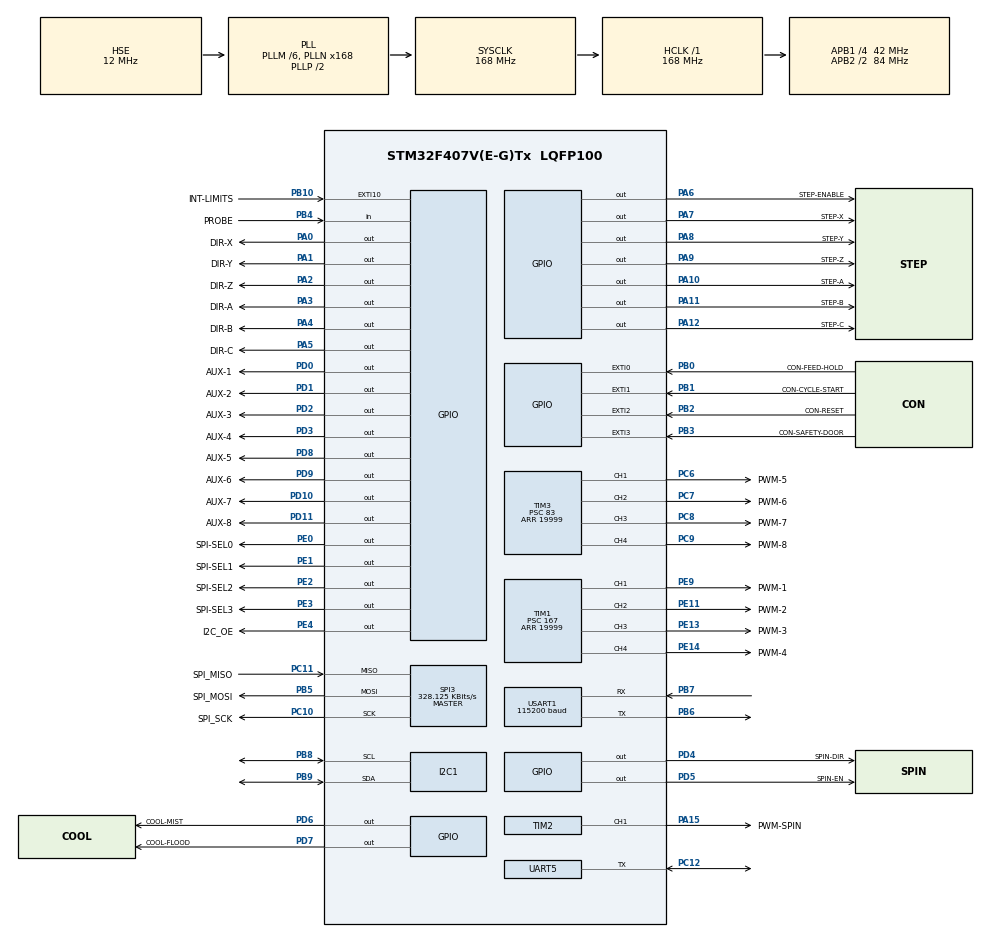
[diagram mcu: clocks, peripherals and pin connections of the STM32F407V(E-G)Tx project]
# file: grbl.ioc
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Mcu.Family=STM32F4
Mcu.Name=STM32F407V(E-G)Tx
Mcu.Package=LQFP100
NVIC.EXTI0_IRQn=true\:0\:0\:false\:true\:true\:2\:true\:true
NVIC.EXTI15_10_IRQn=true\:0\:0\:false\:false\:true\:true\:true
NVIC.EXTI1_IRQn=true\:0\:0\:false\:true\:true\:3\:true\:true
NVIC.EXTI2_IRQn=true\:0\:0\:false\:true\:true\:4\:true\:true
NVIC.EXTI3_IRQn=true\:0\:0\:false\:true\:true\:5\:true\:true
NVIC.PriorityGroup=NVIC_PRIORITYGROUP_4
NVIC.TIM5_IRQn=true\:0\:0\:false\:false\:true\:true\:true
NVIC.TIM7_IRQn=true\:0\:0\:false\:false\:true\:true\:true
NVIC.USART1_IRQn=true\:0\:0\:false\:true\:true\:1\:true\:true
PA0-WKUP.GPIO_Label=DIR-X
PA0-WKUP.GPIO_ModeDefaultOutputPP=GPIO_MODE_OUTPUT_PP
PA0-WKUP.GPIO_Speed=GPIO_SPEED_FREQ_VERY_HIGH
PA0-WKUP.Signal=GPIO_Output
PA1.GPIO_Label=DIR-Y
PA1.GPIO_ModeDefaultOutputPP=GPIO_MODE_OUTPUT_PP
PA1.GPIO_Speed=GPIO_SPEED_FREQ_VERY_HIGH
PA1.Signal=GPIO_Output
PA10.GPIO_Label=STEP-A
PA10.GPIO_ModeDefaultOutputPP=GPIO_MODE_OUTPUT_PP
PA10.GPIO_Speed=GPIO_SPEED_FREQ_VERY_HIGH
PA10.Signal=GPIO_Output
PA11.GPIO_Label=STEP-B
PA11.GPIO_ModeDefaultOutputPP=GPIO_MODE_OUTPUT_PP
PA11.GPIO_Speed=GPIO_SPEED_FREQ_VERY_HIGH
PA11.Signal=GPIO_Output
PA12.GPIO_Label=STEP-C
PA12.GPIO_ModeDefaultOutputPP=GPIO_MODE_OUTPUT_PP
PA12.GPIO_Speed=GPIO_SPEED_FREQ_VERY_HIGH
PA12.Signal=GPIO_Output
PA13.Mode=Serial_Wire
PA13.Signal=SYS_JTMS-SWDIO
PA14.Mode=Serial_Wire
PA14.Signal=SYS_JTCK-SWCLK
PA15.GPIO_Label=PWM-SPIN
PA15.Signal=S_TIM2_CH1_ETR
PA2.GPIO_Label=DIR-Z
PA2.GPIO_ModeDefaultOutputPP=GPIO_MODE_OUTPUT_PP
PA2.GPIO_Speed=GPIO_SPEED_FREQ_VERY_HIGH
PA2.Signal=GPIO_Output
PA3.GPIO_Label=DIR-A
PA3.GPIO_ModeDefaultOutputPP=GPIO_MODE_OUTPUT_PP
PA3.GPIO_Speed=GPIO_SPEED_FREQ_VERY_HIGH
PA3.Signal=GPIO_Output
PA4.GPIO_Label=DIR-B
PA4.GPIO_ModeDefaultOutputPP=GPIO_MODE_OUTPUT_PP
PA4.GPIO_Speed=GPIO_SPEED_FREQ_VERY_HIGH
PA4.Signal=GPIO_Output
PA5.GPIO_Label=DIR-C
PA5.GPIO_ModeDefaultOutputPP=GPIO_MODE_OUTPUT_PP
PA5.GPIO_Speed=GPIO_SPEED_FREQ_VERY_HIGH
PA5.Signal=GPIO_Output
PA6.GPIO_Label=STEP-ENABLE
PA6.GPIO_ModeDefaultOutputPP=GPIO_MODE_OUTPUT_PP
PA6.GPIO_Speed=GPIO_SPEED_FREQ_VERY_HIGH
PA6.Signal=GPIO_Output
PA7.GPIO_Label=STEP-X
PA7.GPIO_ModeDefaultOutputPP=GPIO_MODE_OUTPUT_PP
PA7.GPIO_Speed=GPIO_SPEED_FREQ_VERY_HIGH
PA7.Signal=GPIO_Output
PA8.GPIO_Label=STEP-Y
PA8.GPIO_ModeDefaultOutputPP=GPIO_MODE_OUTPUT_PP
PA8.GPIO_Speed=GPIO_SPEED_FREQ_VERY_HIGH
PA8.Signal=GPIO_Output
PA9.GPIO_Label=STEP-Z
PA9.GPIO_ModeDefaultOutputPP=GPIO_MODE_OUTPUT_PP
PA9.GPIO_Speed=GPIO_SPEED_FREQ_VERY_HIGH
PA9.Signal=GPIO_Output
PB0.GPIO_Label=CON-FEED-HOLD
PB0.GPIO_ModeDefaultEXTI=GPIO_MODE_IT_FALLING
PB0.GPIO_PuPd=GPIO_PULLUP
PB0.Signal=GPXTI0
PB1.GPIO_Label=CON-CYCLE-START
PB1.GPIO_ModeDefaultEXTI=GPIO_MODE_IT_FALLING
PB1.GPIO_PuPd=GPIO_PULLUP
PB1.Signal=GPXTI1
PB10.GPIO_Label=INT-LIMITS
PB10.GPIO_ModeDefaultEXTI=GPIO_MODE_IT_FALLING
PB10.GPIO_PuPd=GPIO_PULLUP
PB10.Signal=GPXTI10
PB2.GPIO_Label=CON-RESET
PB2.GPIO_ModeDefaultEXTI=GPIO_MODE_IT_FALLING
PB2.GPIO_PuPd=GPIO_PULLUP
PB2.Signal=GPXTI2
PB3.GPIO_Label=CON-SAFETY-DOOR
PB3.GPIO_ModeDefaultEXTI=GPIO_MODE_IT_FALLING
PB3.GPIO_PuPd=GPIO_PULLUP
PB3.Signal=GPXTI3
PB4.GPIO_Label=PROBE
PB4.GPIO_PuPd=GPIO_PULLUP
PB4.Signal=GPIO_Input
PB5.GPIO_Label=SPI_MOSI
PB5.Mode=Full_Duplex_Master
PB5.Signal=SPI3_MOSI
PB6.Mode=Asynchronous
PB6.Signal=USART1_TX
PB7.Mode=Asynchronous
PB7.Signal=USART1_RX
PB8.Mode=I2C
PB8.Signal=I2C1_SCL
PB9.Mode=I2C
PB9.Signal=I2C1_SDA
PC10.GPIO_Label=SPI_SCK
PC10.Mode=Full_Duplex_Master
PC10.Signal=SPI3_SCK
PC11.GPIO_Label=SPI_MISO
PC11.Mode=Full_Duplex_Master
PC11.Signal=SPI3_MISO
PC12.Mode=Half_duplex(single_wire_mode)
PC12.Signal=UART5_TX
PC6.GPIO_Label=PWM-5
PC6.Signal=S_TIM3_CH1
PC7.GPIO_Label=PWM-6
PC7.Signal=S_TIM3_CH2
PC8.GPIO_Label=PWM-7
PC8.Signal=S_TIM3_CH3
PC9.GPIO_Label=PWM-8
PC9.Signal=S_TIM3_CH4
PD0.GPIO_Label=AUX-1
PD0.GPIO_ModeDefaultOutputPP=GPIO_MODE_OUTPUT_PP
PD0.GPIO_PuPd=GPIO_NOPULL
PD0.GPIO_Speed=GPIO_SPEED_FREQ_VERY_HIGH
PD0.PinState=GPIO_PIN_RESET
PD0.Signal=GPIO_Output
PD1.GPIO_Label=AUX-2
PD1.GPIO_ModeDefaultOutputPP=GPIO_MODE_OUTPUT_PP
PD1.GPIO_PuPd=GPIO_NOPULL
PD1.GPIO_Speed=GPIO_SPEED_FREQ_VERY_HIGH
PD1.PinState=GPIO_PIN_RESET
PD1.Signal=GPIO_Output
PD10.GPIO_Label=AUX-7
PD10.GPIO_ModeDefaultOutputPP=GPIO_MODE_OUTPUT_PP
PD10.GPIO_PuPd=GPIO_NOPULL
PD10.GPIO_Speed=GPIO_SPEED_FREQ_VERY_HIGH
PD10.PinState=GPIO_PIN_RESET
PD10.Signal=GPIO_Output
PD11.GPIO_Label=AUX-8
PD11.GPIO_ModeDefaultOutputPP=GPIO_MODE_OUTPUT_PP
PD11.GPIO_PuPd=GPIO_NOPULL
PD11.GPIO_Speed=GPIO_SPEED_FREQ_VERY_HIGH
PD11.PinState=GPIO_PIN_RESET
PD11.Signal=GPIO_Output
PD2.GPIO_Label=AUX-3
PD2.GPIO_Speed=GPIO_SPEED_FREQ_VERY_HIGH
PD2.Signal=GPIO_Output
PD3.GPIO_Label=AUX-4
PD3.GPIO_ModeDefaultOutputPP=GPIO_MODE_OUTPUT_PP
PD3.GPIO_PuPd=GPIO_NOPULL
PD3.GPIO_Speed=GPIO_SPEED_FREQ_VERY_HIGH
PD3.PinState=GPIO_PIN_RESET
PD3.Signal=GPIO_Output
PD4.GPIO_Label=SPIN-DIR
PD4.GPIO_ModeDefaultOutputPP=GPIO_MODE_OUTPUT_PP
PD4.GPIO_PuPd=GPIO_NOPULL
PD4.GPIO_Speed=GPIO_SPEED_FREQ_VERY_HIGH
PD4.PinState=GPIO_PIN_RESET
PD4.Signal=GPIO_Output
PD5.GPIO_Label=SPIN-EN
PD5.GPIO_ModeDefaultOutputPP=GPIO_MODE_OUTPUT_PP
PD5.GPIO_PuPd=GPIO_NOPULL
PD5.GPIO_Speed=GPIO_SPEED_FREQ_VERY_HIGH
PD5.PinState=GPIO_PIN_RESET
PD5.Signal=GPIO_Output
PD6.GPIO_Label=COOL-MIST
PD6.GPIO_ModeDefaultOutputPP=GPIO_MODE_OUTPUT_PP
PD6.GPIO_PuPd=GPIO_NOPULL
PD6.GPIO_Speed=GPIO_SPEED_FREQ_VERY_HIGH
PD6.PinState=GPIO_PIN_RESET
PD6.Signal=GPIO_Output
PD7.GPIO_Label=COOL-FLOOD
PD7.GPIO_ModeDefaultOutputPP=GPIO_MODE_OUTPUT_PP
PD7.GPIO_PuPd=GPIO_NOPULL
PD7.GPIO_Speed=GPIO_SPEED_FREQ_VERY_HIGH
PD7.PinState=GPIO_PIN_RESET
PD7.Signal=GPIO_Output
PD8.GPIO_Label=AUX-5
PD8.GPIO_ModeDefaultOutputPP=GPIO_MODE_OUTPUT_PP
PD8.GPIO_PuPd=GPIO_NOPULL
PD8.GPIO_Speed=GPIO_SPEED_FREQ_VERY_HIGH
PD8.PinState=GPIO_PIN_RESET
PD8.Signal=GPIO_Output
PD9.GPIO_Label=AUX-6
PD9.GPIO_ModeDefaultOutputPP=GPIO_MODE_OUTPUT_PP
PD9.GPIO_PuPd=GPIO_NOPULL
PD9.GPIO_Speed=GPIO_SPEED_FREQ_VERY_HIGH
PD9.PinState=GPIO_PIN_RESET
PD9.Signal=GPIO_Output
PE0.GPIO_Label=SPI-SEL0
PE0.GPIO_Speed=GPIO_SPEED_FREQ_VERY_HIGH
PE0.Signal=GPIO_Output
PE1.GPIO_Label=SPI-SEL1
PE1.GPIO_Speed=GPIO_SPEED_FREQ_VERY_HIGH
PE1.Signal=GPIO_Output
PE11.GPIO_Label=PWM-2
PE11.Signal=S_TIM1_CH2
PE13.GPIO_Label=PWM-3
PE13.Signal=S_TIM1_CH3
PE14.GPIO_Label=PWM-4
PE14.Signal=S_TIM1_CH4
PE2.GPIO_Label=SPI-SEL2
PE2.GPIO_Speed=GPIO_SPEED_FREQ_VERY_HIGH
PE2.Signal=GPIO_Output
PE3.GPIO_Label=SPI-SEL3
PE3.GPIO_Speed=GPIO_SPEED_FREQ_VERY_HIGH
PE3.Signal=GPIO_Output
PE4.GPIO_Label=I2C_OE
PE4.Signal=GPIO_Output
PE9.GPIO_Label=PWM-1
PE9.Signal=S_TIM1_CH1
PH0-OSC_IN.Mode=HSE-External-Oscillator
PH0-OSC_IN.Signal=RCC_OSC_IN
PH1-OSC_OUT.Mode=HSE-External-Oscillator
PH1-OSC_OUT.Signal=RCC_OSC_OUT
ProjectManager.HeapSize=0x200
ProjectManager.StackSize=0x400
ProjectManager.TargetToolchain=Other Toolchains (GPDSC)
RCC.48MHZClocksFreq_Value=84000000
RCC.AHBFreq_Value=168000000
RCC.APB1CLKDivider=RCC_HCLK_DIV4
RCC.APB1Freq_Value=42000000
RCC.APB1TimFreq_Value=84000000
RCC.APB2CLKDivider=RCC_HCLK_DIV2
RCC.APB2Freq_Value=84000000
RCC.APB2TimFreq_Value=168000000
RCC.CortexFreq_Value=168000000
RCC.FLatency=FLASH_LATENCY_5
RCC.HCLKFreq_Value=168000000
RCC.HSE_VALUE=12000000
RCC.HSI_VALUE=16000000
RCC.LSE_VALUE=32768
RCC.PLLM=6
RCC.PLLN=168
RCC.PLLSourceVirtual=RCC_PLLSOURCE_HSE
RCC.SYSCLKFreq_VALUE=168000000
RCC.SYSCLKSource=RCC_SYSCLKSOURCE_PLLCLK
RCC.VCOOutputFreq_Value=336000000
SH.S_TIM1_CH1.0=TIM1_CH1,PWM Generation1 CH1
SH.S_TIM1_CH2.0=TIM1_CH2,PWM Generation2 CH2
SH.S_TIM1_CH3.0=TIM1_CH3,PWM Generation3 CH3
SH.S_TIM1_CH4.0=TIM1_CH4,PWM Generation4 CH4
SH.S_TIM2_CH1_ETR.0=TIM2_CH1,PWM Generation1 CH1
SH.S_TIM3_CH1.0=TIM3_CH1,PWM Generation1 CH1
SH.S_TIM3_CH2.0=TIM3_CH2,PWM Generation2 CH2
SH.S_TIM3_CH3.0=TIM3_CH3,PWM Generation3 CH3
SH.S_TIM3_CH4.0=TIM3_CH4,PWM Generation4 CH4
SPI3.BaudRatePrescaler=SPI_BAUDRATEPRESCALER_128
SPI3.CalculateBaudRate=328.125 KBits/s
SPI3.Direction=SPI_DIRECTION_2LINES
SPI3.Mode=SPI_MODE_MASTER
SPI3.VirtualType=VM_MASTER
TIM1.Channel-PWM\ Generation1\ CH1=TIM_CHANNEL_1
TIM1.Channel-PWM\ Generation2\ CH2=TIM_CHANNEL_2
TIM1.Channel-PWM\ Generation3\ CH3=TIM_CHANNEL_3
TIM1.Channel-PWM\ Generation4\ CH4=TIM_CHANNEL_4
TIM1.Period=19999
TIM1.Prescaler=167
TIM1.Pulse-PWM\ Generation1\ CH1=1499
TIM1.Pulse-PWM\ Generation2\ CH2=1499
TIM1.Pulse-PWM\ Generation3\ CH3=1499
TIM1.Pulse-PWM\ Generation4\ CH4=1499
TIM2.Channel-PWM\ Generation1\ CH1=TIM_CHANNEL_1
TIM2.Period=8399
TIM2.Prescaler=0
TIM3.Channel-PWM\ Generation1\ CH1=TIM_CHANNEL_1
TIM3.Channel-PWM\ Generation2\ CH2=TIM_CHANNEL_2
TIM3.Channel-PWM\ Generation3\ CH3=TIM_CHANNEL_3
TIM3.Channel-PWM\ Generation4\ CH4=TIM_CHANNEL_4
TIM3.Period=19999
TIM3.Prescaler=83
TIM3.Pulse-PWM\ Generation1\ CH1=1500
TIM3.Pulse-PWM\ Generation2\ CH2=1500
TIM3.Pulse-PWM\ Generation3\ CH3=1500
TIM3.Pulse-PWM\ Generation4\ CH4=1500
TIM5.Period=0
TIM5.Prescaler=0
UART5.VirtualMode=Asynchronous
USART1.BaudRate=115200
USART1.VirtualMode=VM_ASYNC
VP_TIM1_VS_ClockSourceINT.Mode=Internal
VP_TIM2_VS_ClockSourceINT.Mode=Internal
VP_TIM3_VS_ClockSourceINT.Mode=Internal
VP_TIM5_VS_ClockSourceINT.Mode=Internal
VP_TIM7_VS_ClockSourceINT.Mode=Enable_Timer
board=F407VEG6

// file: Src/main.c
/* USER CODE BEGIN Header */
/**
  ******************************************************************************
  * @file           : main.c
  * @brief          : Main program body
  ******************************************************************************
  * @attention
  *
  * <h2><center>&copy; Copyright (c) 2019 STMicroelectronics.
  * All rights reserved.</center></h2>
  *
  * Copyright (c) 2018-2019 Thomas Truong
  *
  *
  * This software component is licensed by ST under BSD 3-Clause license,
  * the "License"; You may not use this file except in compliance with the
  * License. You may obtain a copy of the License at:
  *                        opensource.org/licenses/BSD-3-Clause
  *
  ******************************************************************************
  */
/* USER CODE END Header */

#include "main.h"
#include "i2c.h"
#include "spi.h"
#include "tim.h"
#include "usart.h"
#include "gpio.h"

/* USER CODE BEGIN Includes */
#include "grbl.h"
/* USER CODE END Includes */

/* USER CODE BEGIN PV */
/* Private variables ---------------------------------------------------------*/
// Declare system global variable structure
system_t sys;
int32_t sys_position[N_AXIS];      // Real-time machine (aka home) position vector in steps.
int32_t sys_probe_position[N_AXIS]; // Last probe position in machine coordinates and steps.
volatile uint8_t sys_probe_state;   // Probing state value.  Used to coordinate the probing cycle with stepper ISR.
volatile uint8_t sys_rt_exec_state;   // Global realtime executor bitflag variable for state management. See EXEC bitmasks.
volatile uint8_t sys_rt_exec_alarm;   // Global realtime executor bitflag variable for setting various alarms.
volatile uint8_t sys_rt_exec_motion_override; // Global realtime executor bitflag variable for motion-based overrides.
volatile uint8_t sys_rt_exec_accessory_override; // Global realtime executor bitflag variable for spindle/coolant overrides.
#ifdef DEBUG
  volatile uint8_t sys_rt_exec_debug;
#endif

char pHelloVE[] = "Hello G6F1VE\r\n";

/* USER CODE END PV */

void SystemClock_Config(void);
static void MX_NVIC_Init(void);

int main(void)
{

  /* MCU Configuration--------------------------------------------------------*/

  /* Reset of all peripherals, Initializes the Flash interface and the Systick. */
  HAL_Init();

  /* Configure the system clock */
  SystemClock_Config();

  /* Initialize all configured peripherals */
  MX_GPIO_Init();
  MX_TIM3_Init();
  MX_TIM1_Init();
  MX_TIM2_Init();
  MX_USART1_UART_Init();
  MX_TIM5_Init();
  MX_I2C1_Init();
  MX_SPI3_Init();
  MX_UART5_Init();
  MX_TIM7_Init();

  /* Initialize interrupts */
  MX_NVIC_Init();
  /* USER CODE BEGIN 2 */
  timing_init();
  uart_init();
  eeprom_init();
  serial_init();   // Setup serial baud rate and interrupts
  settings_init(); // Load Grbl settings from EEPROM
  stepper_init();  // Configure stepper pins and interrupt timers
  system_init();   // Configure pinout pins and pin-change interrupt

/*uint32_t debugCounter = 0;
while (true) {
	// this doesn't always work
	//printString("0123456789ABCDEF\r\n");
	//delay_ms(100);

	// this always works?
	//uart_sendch(debugCounter >> 24);
	//uart_sendch(debugCounter >> 16);
	//uart_sendch(debugCounter >> 8);
	//uart_sendch(debugCounter >> 0);
	//debugCounter++;
	//delay_ms(100);

	// this seems to work
//	uart_sendch('0' + (debugCounter >> 24));
//	uart_sendch('0' + (debugCounter >> 16));
//	uart_sendch('0' + (debugCounter >> 8));
//	uart_sendch('0' + (debugCounter >> 0));
//	printString("\r\n");
//	debugCounter++;

//	printString("\r\nGrbl " GRBL_VERSION " ['$' for help]\r\n");
//	printString("[MSG:");
//	printString("'$H'|'$X' to unlock");
//	serial_write(']');
//	printString("\r\n");
//	delay_ms(50);

	uart_sendch(debugCounter);
	debugCounter++;

	// It seems like sometimes either the serial -> USB chip, or the virtual COM driver on my PC,
	// gets into a bad state and I receive nothing. Disabling/enabling in Device Manager is a workaround.
}*/

  memset(sys_position,0,sizeof(sys_position)); // Clear machine position.

  // Initialize system state.
  #ifdef FORCE_INITIALIZATION_ALARM
    // Force Grbl into an ALARM state upon a power-cycle or hard reset.
    sys.state = STATE_ALARM;
  #else
    sys.state = STATE_IDLE;
  #endif

  // Check for power-up and set system alarm if homing is enabled to force homing cycle
  // by setting Grbl's alarm state. Alarm locks out all g-code commands, including the
  // startup scripts, but allows access to settings and internal commands. Only a homing
  // cycle '$H' or kill alarm locks '$X' will disable the alarm.
  // NOTE: The startup script will run after successful completion of the homing cycle, but
  // not after disabling the alarm locks. Prevents motion startup blocks from crashing into
  // things uncontrollably. Very bad.
  #ifdef HOMING_INIT_LOCK
    if (bit_istrue(settings.flags,BITFLAG_HOMING_ENABLE)) { sys.state = STATE_ALARM; }
  #endif

  /* USER CODE END 2 */

  /* Infinite loop */
  /* USER CODE BEGIN WHILE */
  while (1)
  {
		// Reset system variables.
		uint8_t prior_state = sys.state;
		memset(&sys, 0, sizeof(system_t)); // Clear system struct variable.
		sys.state = prior_state;
		sys.f_override = DEFAULT_FEED_OVERRIDE;  // Set to 100%
		sys.r_override = DEFAULT_RAPID_OVERRIDE; // Set to 100%
		sys.spindle_speed_ovr = DEFAULT_SPINDLE_SPEED_OVERRIDE; // Set to 100%
			memset(sys_probe_position,0,sizeof(sys_probe_position)); // Clear probe position.
		sys_probe_state = 0;
		sys_rt_exec_state = 0;
		sys_rt_exec_alarm = 0;
		sys_rt_exec_motion_override = 0;
		sys_rt_exec_accessory_override = 0;

		// Reset Grbl primary systems.
		serial_reset_read_buffer(); // Clear serial read buffer
		gc_init(); // Set g-code parser to default state
		spindle_init();
		coolant_init();
		spi_limits_init();				//-- expansion io based limits, before limits_init()
		limits_init();

		probe_init();
		inoutputs_init();

		plan_reset(); // Clear block buffer and planner variables
		st_reset(); // Clear stepper subsystem variables.

		// Sync cleared gcode and planner positions to current system position.
		plan_sync_position();
		gc_sync_position();

		// Print welcome message. Indicates an initialization has occured at power-up or with a reset.
		report_init_message();

		// Start Grbl main loop. Processes program inputs and executes them.
		protocol_main_loop();

    /* USER CODE END WHILE */

  }
}

void SystemClock_Config(void)
{
  RCC_OscInitTypeDef RCC_OscInitStruct = {0};
  RCC_ClkInitTypeDef RCC_ClkInitStruct = {0};

  /** Configure the main internal regulator output voltage
  */
  __HAL_RCC_PWR_CLK_ENABLE();
  __HAL_PWR_VOLTAGESCALING_CONFIG(PWR_REGULATOR_VOLTAGE_SCALE1);
  /** Initializes the CPU, AHB and APB busses clocks
  */
  RCC_OscInitStruct.OscillatorType = RCC_OSCILLATORTYPE_HSE;
  RCC_OscInitStruct.HSEState = RCC_HSE_ON;
  RCC_OscInitStruct.PLL.PLLState = RCC_PLL_ON;
  RCC_OscInitStruct.PLL.PLLSource = RCC_PLLSOURCE_HSE;
  RCC_OscInitStruct.PLL.PLLM = 6;
  RCC_OscInitStruct.PLL.PLLN = 168;
  RCC_OscInitStruct.PLL.PLLP = RCC_PLLP_DIV2;
  RCC_OscInitStruct.PLL.PLLQ = 4;
  if (HAL_RCC_OscConfig(&RCC_OscInitStruct) != HAL_OK)
  {
    Error_Handler();
  }
  /** Initializes the CPU, AHB and APB busses clocks
  */
  RCC_ClkInitStruct.ClockType = RCC_CLOCKTYPE_HCLK|RCC_CLOCKTYPE_SYSCLK
                              |RCC_CLOCKTYPE_PCLK1|RCC_CLOCKTYPE_PCLK2;
  RCC_ClkInitStruct.SYSCLKSource = RCC_SYSCLKSOURCE_PLLCLK;
  RCC_ClkInitStruct.AHBCLKDivider = RCC_SYSCLK_DIV1;
  RCC_ClkInitStruct.APB1CLKDivider = RCC_HCLK_DIV4;
  RCC_ClkInitStruct.APB2CLKDivider = RCC_HCLK_DIV2;

  if (HAL_RCC_ClockConfig(&RCC_ClkInitStruct, FLASH_LATENCY_5) != HAL_OK)
  {
    Error_Handler();
  }
}

/**
  * @brief NVIC Configuration.
  * @retval None
  */
static void MX_NVIC_Init(void)
{
  /* USART1_IRQn interrupt configuration */
  NVIC_SetPriority(USART1_IRQn, NVIC_EncodePriority(NVIC_GetPriorityGrouping(),0, 0));
  NVIC_EnableIRQ(USART1_IRQn);
  /* EXTI0_IRQn interrupt configuration */
  HAL_NVIC_SetPriority(EXTI0_IRQn, 0, 0);
  HAL_NVIC_EnableIRQ(EXTI0_IRQn);
  /* EXTI1_IRQn interrupt configuration */
  HAL_NVIC_SetPriority(EXTI1_IRQn, 0, 0);
  HAL_NVIC_EnableIRQ(EXTI1_IRQn);
  /* EXTI2_IRQn interrupt configuration */
  HAL_NVIC_SetPriority(EXTI2_IRQn, 0, 0);
  HAL_NVIC_EnableIRQ(EXTI2_IRQn);
  /* EXTI3_IRQn interrupt configuration */
  HAL_NVIC_SetPriority(EXTI3_IRQn, 0, 0);
  HAL_NVIC_EnableIRQ(EXTI3_IRQn);
}

/* USER CODE BEGIN 4 */

void Analog_Timer_Init()
{
		LL_TIM_CC_EnableChannel(ANA1_TIMER,ANA1_CHANNEL);
		LL_TIM_CC_EnableChannel(ANA2_TIMER,ANA2_CHANNEL);
		LL_TIM_CC_EnableChannel(ANA3_TIMER,ANA3_CHANNEL);
		LL_TIM_CC_EnableChannel(ANA4_TIMER,ANA4_CHANNEL);
		//LL_TIM_DisableAllOutputs(ANA1_TIMER); //-- same for 1..4
		LL_TIM_EnableAllOutputs(ANA1_TIMER);
		LL_TIM_EnableCounter(ANA1_TIMER);
		//-- start timer with PWM disabled

		LL_TIM_CC_EnableChannel(ANA5_TIMER,ANA5_CHANNEL);
		LL_TIM_CC_EnableChannel(ANA6_TIMER,ANA6_CHANNEL);
		LL_TIM_CC_EnableChannel(ANA7_TIMER,ANA7_CHANNEL);
		LL_TIM_CC_EnableChannel(ANA8_TIMER,ANA8_CHANNEL);
//		LL_TIM_DisableAllOutputs(ANA5_TIMER); //-- same for 5..8
		LL_TIM_EnableAllOutputs(ANA5_TIMER); //-- same for 5..8
		LL_TIM_EnableCounter(ANA5_TIMER);
		//-- start timer with PWM disabled

}
/* USER CODE END 4 */

void Error_Handler(void)
{
}

/************************ (C) COPYRIGHT STMicroelectronics *****END OF FILE****/
